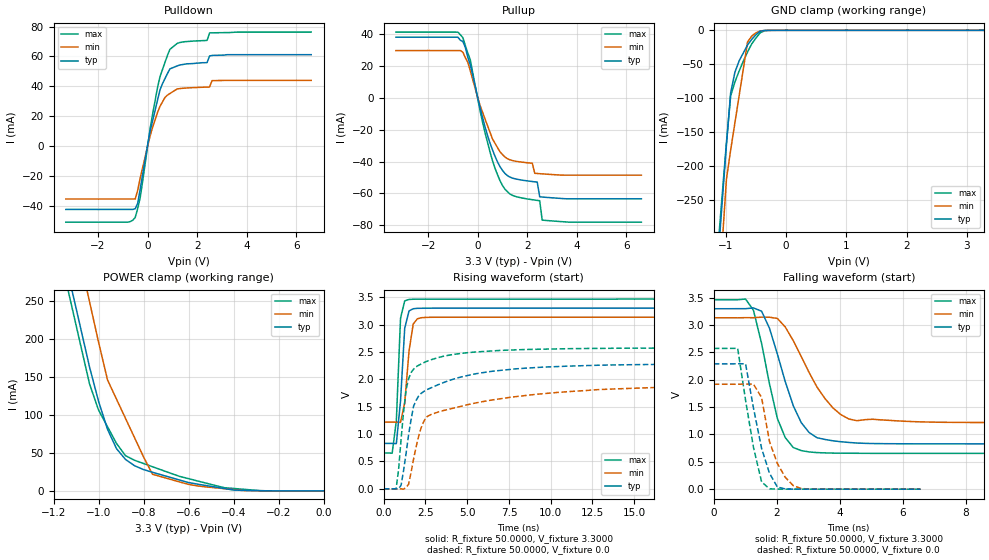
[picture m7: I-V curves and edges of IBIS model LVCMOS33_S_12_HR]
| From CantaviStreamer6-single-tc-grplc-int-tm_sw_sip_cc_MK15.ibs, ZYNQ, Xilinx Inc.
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[Model]  LVCMOS33_S_12_HR
Model_type I/O
Polarity   Non-Inverting
Enable   Active-Low
Vinl =   0.8000V
Vinh =   2.0000V
Vmeas =  1.6500V
Cref =   0.0F
Rref =   1.0000M
Vref =   0.0V
C_comp   5.23pF   5.19pF   5.36pF
[Temperature Range]   25.0000   85.0000   0.0
[Voltage Range]   3.3000V   3.1350V   3.4650V
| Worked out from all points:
|   slope of the pulldown table from 0 to 0.495 V, typ, clamps not added: 13.6 ohm
|   slope of the pullup table from 0 to 0.495 V, typ, clamps not added: 17.4 ohm
|   GND clamp passes 1 mA (typ) near -0.41 V on its own axis
|   POWER clamp passes 1 mA (typ) near -0.38 V on its own axis
|   rising waveform, R_fixture 50.0000, V_fixture 3.3000: 20-80 % time 317ps typ, 369ps min, 234ps max; typ from 0.829 V to 3.3 V
|   rising waveform, R_fixture 50.0000, V_fixture 0.0: 20-80 % time 1.47ns typ, 3.3ns min, 621ps max; typ from 0 V to 2.29 V
|   falling waveform, R_fixture 50.0000, V_fixture 3.3000: 20-80 % time 849ps typ, 1.13ns min, 658ps max; typ from 3.3 V to 0.829 V
|   falling waveform, R_fixture 50.0000, V_fixture 0.0: 20-80 % time 525ps typ, 543ps min, 467ps max; typ from 2.29 V to 0 V
[Pulldown]
|Voltage   I(typ)   I(min)   I(max)
-3.3V     -42.25mA   -35.29mA   -50.77mA
-500mV    -41.79mA   -35.29mA   -47.66mA
-400mV    -38.18mA   -29.46mA   -41.63mA
-300mV    -28.8mA    -21.28mA   -34.4mA
100mV     9.922mA    6.773mA    11.68mA
500mV     37.67mA    26.63mA    46.52mA
900mV     51.69mA    35.2mA     64.73mA
1.2V      53.7mA     38.28mA    68.76mA
2.4V      55.92mA    39.51mA    70.74mA
2.5V      60.33mA    39.57mA    75.74mA
2.6V      60.64mA    43.82mA    75.77mA
6.6V      61.16mA    43.98mA    76.27mA
[Pullup]
|Voltage   I(typ)   I(min)   I(max)
-3.3V     37.86mA    29.52mA    41.07mA
-800mV    37.86mA    29.52mA    41.03mA
-600mV    35.2mA     28.45mA    37.61mA
-300mV    20.53mA    16.85mA    23.73mA
400mV     -23.9mA    -17.74mA   -28.27mA
900mV     -43.27mA   -33.95mA   -52.06mA
1.3V      -49.77mA   -38.95mA   -60.38mA
2.2V      -52.54mA   -41.08mA   -63.92mA
2.4V      -52.89mA   -47.51mA   -64.36mA
2.5V      -62.12mA   -47.63mA   -64.56mA
2.6V      -62.25mA   -47.74mA   -76.71mA
6.6V      -63.35mA   -48.56mA   -78.01mA
[GND_clamp]
|Voltage   I(typ)   I(min)   I(max)
-3.3V     -3.592A    -3.646A    -3.573A
-1.13V    -336.9mA   -409.1mA   -319.4mA
-1.06V    -252.8mA   -314.3mA   -242.5mA
-990mV    -168.8mA   -219.6mA   -165.6mA
-920mV    -92.3mA    -176.6mA   -96.7mA
-850mV    -62.05mA   -136.8mA   -76.37mA
-780mV    -45.15mA   -96.96mA   -60.18mA
-640mV    -21.63mA   -17.32mA   -31.95mA
-500mV    -6.516mA   -3.707mA   -11.33mA
-430mV    -1.313mA   -966uA     -3.742mA
-290mV    -32.55uA   -115.3uA   -114.4uA
3.28V     19.39nA    2.213uA    13.98nA
[POWER_clamp]
|Voltage   I(typ)   I(min)   I(max)
-3.28V    3.564A     3.617A     3.545A
-1.16V    321mA      407.8mA    295.6mA
-1.12V    266.3mA    354.8mA    244mA
-1.08V    214.7mA    301.8mA    192.3mA
-1.04V    163mA      248.8mA    140.7mA
-1V       118mA      195.8mA    106.4mA
-960mV    81.02mA    145.9mA    84.38mA
-920mV    55.54mA    120.6mA    62.38mA
-880mV    41.38mA    95.3mA     46.32mA
-760mV    24.5mA     21.89mA    31.81mA
-440mV    3.116mA    2.892mA    4.218mA
0V        19.62nA    164.8nA    26.23nA
[Ramp]
| variable   typ   min   max
dV/dt_r  1.3722/1.4459n   1.1358/2.9931n   1.5324/0.5919n
dV/dt_f  1.4825/0.8394n   1.1502/1.1155n   1.6859/0.6296n
R_load = 50.0000
[Rising Waveform]
R_fixture= 50.0000
V_fixture= 3.3000
V_fixture_min= 3.1350
V_fixture_max= 3.46500
|time   V(typ)   V(min)   V(max)
0s        829.2mV    1.218V     655mV
510ps     829.1mV    1.218V     650.9mV
760ps     826.1mV    1.217V     1.245V
1.01ns    1.605V     1.214V     3.114V
1.26ns    2.93V      1.568V     3.432V
1.52ns    3.249V     2.518V     3.458V
1.77ns    3.288V     3.009V     3.462V
2.02ns    3.296V     3.105V     3.463V
3.03ns    3.299V     3.133V     3.464V
18.94ns   3.3V       3.134V     3.465V
[Rising Waveform]
R_fixture= 50.0000
V_fixture= 0.0
|time   V(typ)   V(min)   V(max)
0s        0V         793.6nV    0V
745.9ps   -632.5uV   81.14uV    3.648mV
1.044ns   66.17mV    -1.364mV   909.6mV
1.343ns   646mV      24.73mV    1.808V
1.641ns   1.265V     297.2mV    2.122V
1.939ns   1.613V     761.3mV    2.227V
2.536ns   1.804V     1.307V     2.323V
3.879ns   1.973V     1.451V     2.439V
15.07ns   2.269V     1.839V     2.568V
44.16ns   2.287V     1.919V     2.575V
[Falling Waveform]
R_fixture= 50.0000
V_fixture= 3.3000
V_fixture_min= 3.1350
V_fixture_max= 3.46500
|time   V(typ)   V(min)   V(max)
0s        3.3V       3.135V     3.465V
1.01ns    3.301V     3.137V     3.477V
1.26ns    3.315V     3.136V     3.274V
1.52ns    3.255V     3.146V     2.664V
2.02ns    2.474V     3.123V     1.296V
2.27ns    1.969V     2.968V     944.2mV
2.78ns    1.217V     2.425V     705.8mV
3.79ns    884.4mV    1.485V     659.6mV
4.55ns    843.9mV    1.252V     656.4mV
15.15ns   829.2mV    1.218V     655mV
[Falling Waveform]
R_fixture= 50.0000
V_fixture= 0.0
|time   V(typ)   V(min)   V(max)
0s        2.291V     1.919V     2.574V
760ps     2.294V     1.919V     2.576V
1.01ns    2.293V     1.922V     1.628V
1.26ns    1.489V     1.922V     767.2mV
1.52ns    745.4mV    1.676V     134.5mV
1.77ns    292mV      871.6mV    6.262mV
2.02ns    39.07mV    471.2mV    1.188mV
2.27ns    4.489mV    218.1mV    605.7uV
2.78ns    600.7uV    11.95mV    237.7uV
6.57ns    0V         0V         0V
